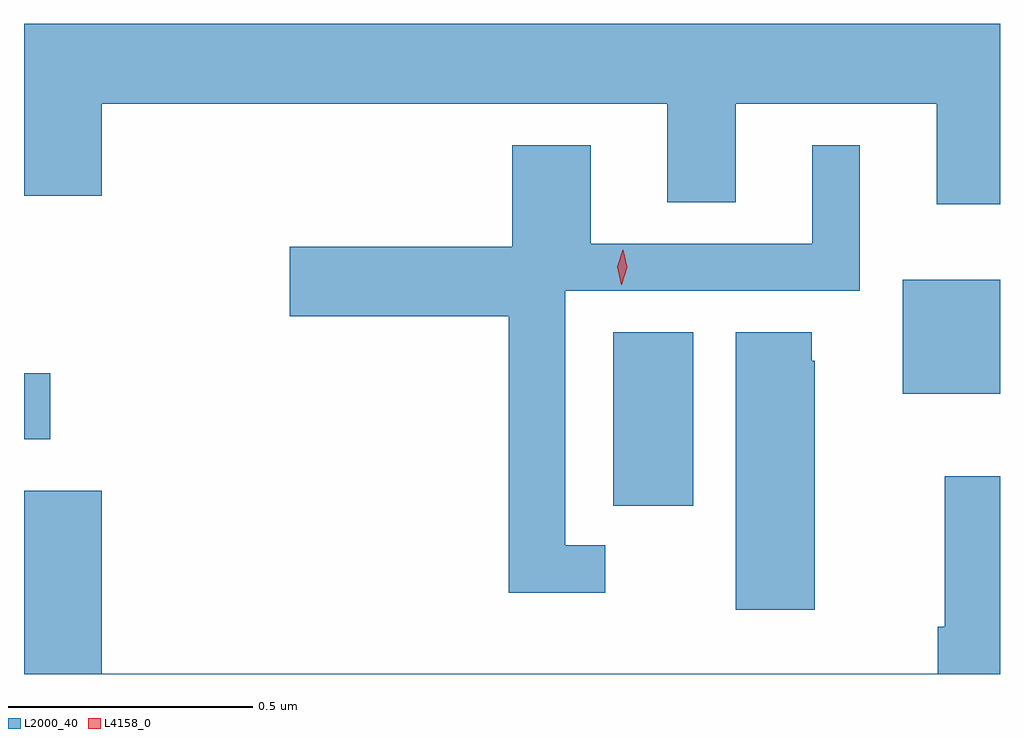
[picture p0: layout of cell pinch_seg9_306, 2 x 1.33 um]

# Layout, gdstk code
import gdstk
lib = gdstk.Library(unit=1e-6, precision=1e-09)
def R(c, l, rs):  # rectangles x0, y0, x1, y1
    for r in rs: c.add(gdstk.rectangle(r[:2], r[2:], *l))
def P(c, l, *ps):  # polygons
    for p in ps: c.add(gdstk.Polygon(p, *l))
L2000_40 = (2000, 40)
L4158_0 = (4158, 0)

pinch_seg9_306 = lib.new_cell('pinch_seg9_306')
R(pinch_seg9_306, L2000_40, [(429.956,1199.592,430.12,1199.948), (428.749,1199.729,428.803,1199.864), (430.55,1199.822,430.749,1200.055)])
P(pinch_seg9_306, L2000_40, [(430.749,1200.58),(428.749,1200.58),(428.749,1200.228),(428.908,1200.228),(428.908,1200.416),(430.067,1200.416),(430.067,1200.214),(430.207,1200.214),(430.207,1200.416),(430.619,1200.416),(430.619,1200.21),(430.749,1200.21)],
  [(429.94,1199.511),(429.858,1199.511),(429.858,1200.033),(430.462,1200.033),(430.462,1200.331),(430.364,1200.331),(430.364,1200.129),(429.91,1200.129),(429.91,1200.331),(429.749,1200.331),(429.749,1200.123),(429.294,1200.123),(429.294,1199.981),(429.742,1199.981),(429.742,1199.414),(429.94,1199.414)],
  [(430.369,1199.889),(430.363,1199.889),(430.363,1199.948),(430.208,1199.948),(430.208,1199.379),(430.369,1199.379)],
  [(430.749,1199.653),(430.636,1199.653),(430.636,1199.344),(430.621,1199.344),(430.621,1199.248),(428.908,1199.248),(428.908,1199.623),(428.749,1199.623),(428.749,1199.247),(430.749,1199.247)])
P(pinch_seg9_306, L4158_0, [(429.973,1200.045),(429.965,1200.082),(429.976,1200.117),(429.977,1200.117),(429.977,1200.117),(429.985,1200.081),(429.974,1200.045),(429.974,1200.045)])

lib.write_gds('pinch_seg9_306.gds')
